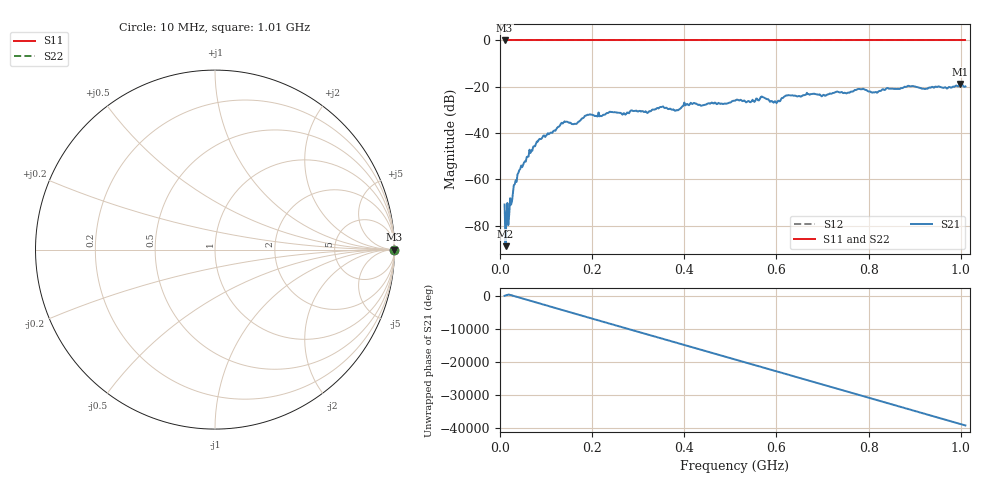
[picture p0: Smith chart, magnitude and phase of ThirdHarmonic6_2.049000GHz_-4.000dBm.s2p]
! 8/17/2025 12:33:49 AM
! C:\ANRITSUVNA\TEMP\TEMP.S2P
! CHANNEL.1
! TR.MEASUREMENT
! RAW.DATA
! RF.CORRECTION.OFF
! AVERAGING.OFF
! IF.BANDWIDTH: 5KHZ
! SWEEPTYPE:  FREQ.SWEEP(Linear)
! Reference Plane Port Info
! PORT:  PORT1  PORT2
! DISTANCE:  0  m  0  m
! TIME:  0  s  0  s
! PHASE.OFFSET:  0  deg.  0  deg.
! LOSS:  0  dB  0  dB
! REF.LOSS:  0  dB  0  dB
! REF.FREQ:  0  Hz  0  Hz
! Power Info
! POWER:  -20  dBm  -20  dBm
! EFF.POWER:  -20  dBm  -20  dBm
! SOURCE.ATTEN:  0  dB  0  dB
! TEST.ATTEN:  0  dB  0  dB
# GHZ S RI R 50.0
! FREQ.GHZ  S11RE  S11IM  S21RE  S21IM  S12RE  S12IM  S22RE  S22IM
!; PortSelection: Port_12
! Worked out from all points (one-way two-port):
!   501 points, 10 MHz to 1.01 GHz, reference 50 ohm
!   highest |S21| = -18.83 dB at 998 MHz (marker M1); lowest = -88.8 dB at 12 MHz (marker M2)
!   lowest |S11| = 0.0 dB at 10 MHz (marker M3)
!   |S11| at or under -10 dB: nowhere
!   |S22| runs from 0.0 to 0.0 dB; largest |S21 - S12| = 1.1
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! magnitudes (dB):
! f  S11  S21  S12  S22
! 10 MHz  0.0  -70.8  0.0  0.0
! 12 MHz  0.0  -88.8  0.0  0.0
! 16 MHz  0.0  -70.1  0.0  0.0
! 22 MHz  0.0  -68.1  0.0  0.0
! 34 MHz  0.0  -60.4  0.0  0.0
! 42 MHz  0.0  -55.9  0.0  0.0
! 82 MHz  0.0  -43.7  0.0  0.0
! 136 MHz  0.0  -35.9  0.0  0.0
! 162 MHz  0.0  -36.0  0.0  0.0
! 178 MHz  0.0  -33.7  0.0  0.0
! 192 MHz  0.0  -32.1  0.0  0.0
! 344 MHz  0.0  -29.3  0.0  0.0
! 384 MHz  0.0  -30.0  0.0  0.0
! 404 MHz  0.0  -27.7  0.0  0.0
! 510 MHz  0.0  -26.0  0.0  0.0
! 570 MHz  0.0  -24.4  0.0  0.0
! 598 MHz  0.0  -26.4  0.0  0.0
! 624 MHz  0.0  -23.7  0.0  0.0
! 678 MHz  0.0  -23.1  0.0  0.0
! 844 MHz  0.0  -20.8  0.0  0.0
! 998 MHz  0.0  -18.8  0.0  0.0
! 1.01 GHz  0.0  -19.9  0.0  0.0
